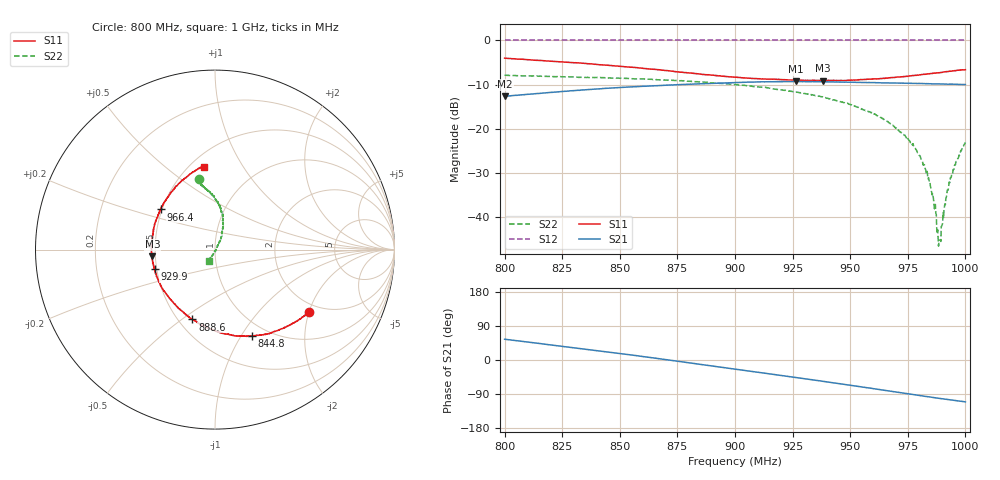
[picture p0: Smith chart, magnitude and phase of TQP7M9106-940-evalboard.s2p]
!	created	by	azisi	at	Mon	Jul	20	20:14:54	EEST	2020
!	generated	using	vna/J	Version	3.4.3
#	Hz	S	DB	R	50
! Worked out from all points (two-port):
!   1014 points, 800 MHz to 1 GHz, reference 50 ohm
!   highest |S21| = -9.27 dB at 926.6 MHz (marker M1); lowest = -12.6 dB at 800.2 MHz (marker M2)
!   |S21| within 3 dB of the highest: 807.7768 MHz to 808.0849 MHz (308 kHz wide, 0.0381 % of centre); 808.5 MHz to end of sweep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
!   lowest |S11| = -9.1 dB at 938 MHz (marker M3), VSWR 2.08, Z = 24.1 - j2.09 ohm
!   |S11| at or under -10 dB: nowhere
!   |S22| runs from -46.5 to -7.9 dB; largest |S21 - S12| = 1.2
!   S11 on the Smith chart (normalised r, x): 800 MHz: 1.74, -2.01; 844.8 MHz: 0.84, -1.12; 888.6 MHz: 0.59, -0.55; 929.9 MHz: 0.49, -0.12; 966.4 MHz: 0.49, +0.26; 1 GHz: 0.58, +0.69
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8e8  -4.01 -33.5  -12.61 54.8  0.00 0.0  -7.86 102.7
8.001974e8  -4.00 -33.7  -12.61 54.8  0.00 0.0  -7.86 102.6
8.33366e8  -5.12 -57.9  -11.20 29.7  0.00 0.0  -8.33 102.8
8.448171e8  -5.61 -67.0  -10.79 21.2  0.00 0.0  -8.48 102.9
8.66732e8  -6.59 -85.2  -10.19 3.8  0.00 0.0  -8.91 101.2
8.88647e8  -7.77 -107.9  -9.73 -14.6  0.00 0.0  -9.52 97.3
9.00098e8  -8.29 -121.7  -9.52 -24.1  0.00 0.0  -9.95 94.7
9.265539e8  -8.99 -157.2  -9.27 -46.3  0.00 0.0  -11.66 86.2
9.299103e8  -9.02 -162.0  -9.29 -49.2  0.00 0.0  -11.98 85.2
9.33464e8  -9.00 -167.1  -9.29 -52.2  0.00 0.0  -12.30 84.0
9.38005e8  -9.09 -173.8  -9.33 -56.2  0.00 0.0  -12.73 81.9
9.664352e8  -8.49 143.5  -9.60 -81.5  0.00 0.0  -18.33 69.5
9.6683e8  -8.46 143.3  -9.61 -81.7  0.00 0.0  -18.57 69.0
9.757145e8  -8.02 129.8  -9.68 -89.7  0.00 0.0  -22.64 62.7
9.812426e8  -7.70 122.4  -9.73 -94.6  0.00 0.0  -27.19 58.0
9.851912e8  -7.48 116.9  -9.80 -98.0  0.00 0.0  -34.03 50.3
9.863758e8  -7.40 115.1  -9.80 -99.4  0.00 0.0  -37.14 38.2
9.885476e8  -7.32 112.3  -9.82 -101.1  0.00 0.0  -45.36 -25.8
9.891399e8  -7.24 111.5  -9.83 -101.7  0.00 0.0  -45.02 -52.5
9.913116e8  -7.08 108.7  -9.85 -103.4  0.00 0.0  -37.10 -103.5
9.938782e8  -6.94 105.1  -9.86 -105.6  0.00 0.0  -30.79 -110.2
9.999986e8  -6.61 97.8  -9.97 -110.5  0.00 0.0  -23.06 -119.7
